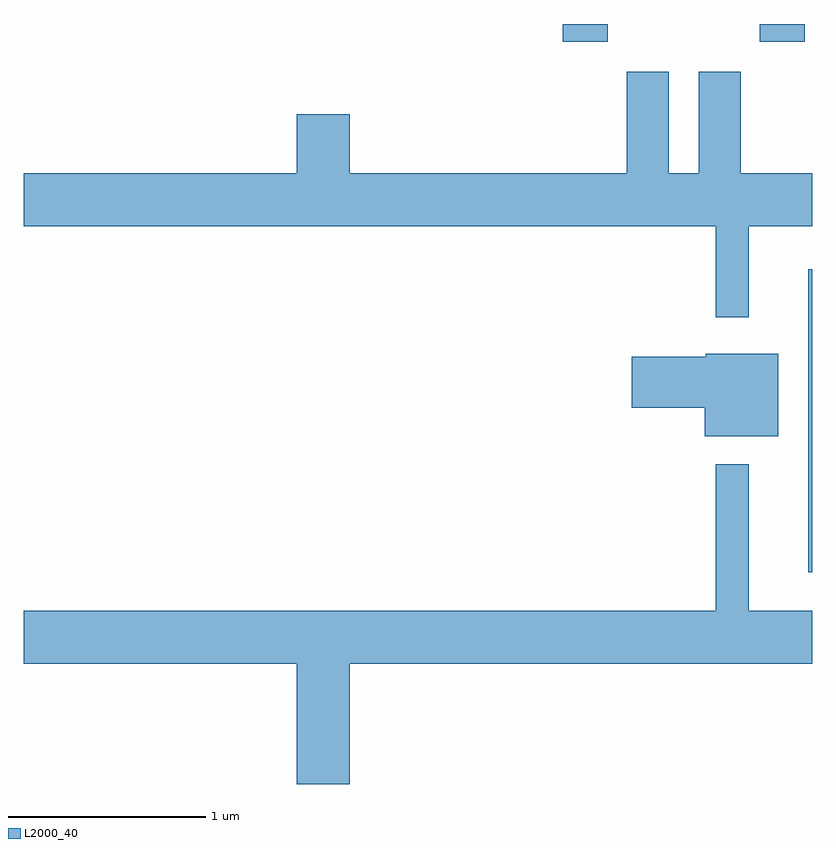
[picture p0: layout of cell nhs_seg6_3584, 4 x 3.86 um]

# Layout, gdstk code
import gdstk
lib = gdstk.Library(unit=1e-6, precision=1e-09)
def R(c, l, rs):  # rectangles x0, y0, x1, y1
    for r in rs: c.add(gdstk.rectangle(r[:2], r[2:], *l))
def P(c, l, *ps):  # polygons
    for p in ps: c.add(gdstk.Polygon(p, *l))
L2000_40 = (2000, 40)

nhs_seg6_3584 = lib.new_cell('nhs_seg6_3584')
R(nhs_seg6_3584, L2000_40, [(297.591,1559.381,297.611,1560.918), (296.346,1562.071,296.574,1562.162), (297.346,1562.071,297.574,1562.162)])
P(nhs_seg6_3584, L2000_40, [(297.289,1561.136),(297.611,1561.136),(297.611,1561.404),(297.249,1561.404),(297.249,1561.919),(297.036,1561.919),(297.036,1561.404),(296.884,1561.404),(296.884,1561.919),(296.671,1561.919),(296.671,1561.404),(295.264,1561.404),(295.264,1561.704),(294.996,1561.704),(294.996,1561.404),(293.611,1561.404),(293.611,1561.136),(297.121,1561.136),(297.121,1560.673),(297.289,1560.673)],
  [(297.439,1560.489),(297.07,1560.489),(297.07,1560.474),(296.696,1560.474),(296.696,1560.216),(297.066,1560.216),(297.066,1560.071),(297.439,1560.071)],
  [(295.264,1558.916),(297.611,1558.916),(297.611,1559.184),(297.289,1559.184),(297.289,1559.928),(297.121,1559.928),(297.121,1559.184),(293.611,1559.184),(293.611,1558.916),(294.996,1558.916),(294.996,1558.306),(295.264,1558.306)])

lib.write_gds('nhs_seg6_3584.gds')
